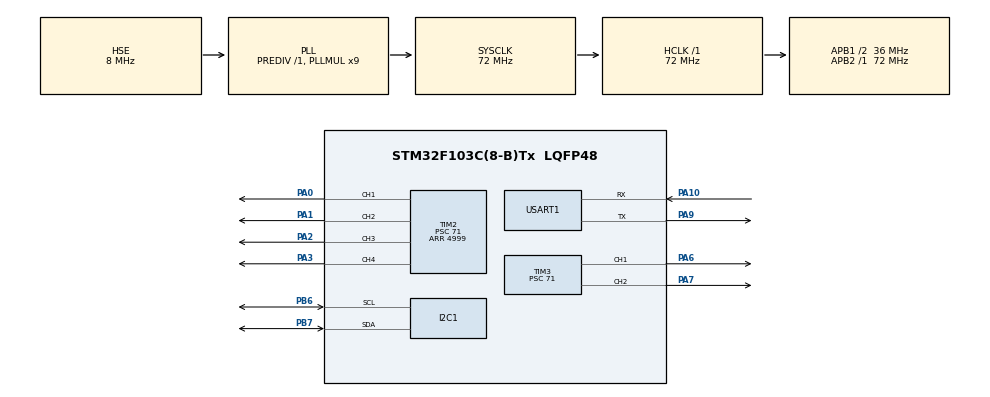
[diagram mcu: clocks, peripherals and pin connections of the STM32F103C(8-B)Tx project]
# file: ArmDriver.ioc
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Dma.I2C1_RX.0.Direction=DMA_PERIPH_TO_MEMORY
Dma.I2C1_RX.0.Instance=DMA1_Channel7
Dma.I2C1_RX.0.MemDataAlignment=DMA_MDATAALIGN_BYTE
Dma.I2C1_RX.0.MemInc=DMA_MINC_ENABLE
Dma.I2C1_RX.0.Mode=DMA_NORMAL
Dma.I2C1_RX.0.PeriphDataAlignment=DMA_PDATAALIGN_BYTE
Dma.I2C1_RX.0.PeriphInc=DMA_PINC_DISABLE
Dma.I2C1_RX.0.Priority=DMA_PRIORITY_LOW
Dma.I2C1_TX.1.Direction=DMA_MEMORY_TO_PERIPH
Dma.I2C1_TX.1.Instance=DMA1_Channel6
Dma.I2C1_TX.1.MemDataAlignment=DMA_MDATAALIGN_BYTE
Dma.I2C1_TX.1.MemInc=DMA_MINC_ENABLE
Dma.I2C1_TX.1.Mode=DMA_NORMAL
Dma.I2C1_TX.1.PeriphDataAlignment=DMA_PDATAALIGN_BYTE
Dma.I2C1_TX.1.PeriphInc=DMA_PINC_DISABLE
Dma.I2C1_TX.1.Priority=DMA_PRIORITY_LOW
Dma.MEMTOMEM.4.Direction=DMA_MEMORY_TO_MEMORY
Dma.MEMTOMEM.4.Instance=DMA1_Channel1
Dma.MEMTOMEM.4.MemDataAlignment=DMA_MDATAALIGN_BYTE
Dma.MEMTOMEM.4.MemInc=DMA_MINC_ENABLE
Dma.MEMTOMEM.4.Mode=DMA_NORMAL
Dma.MEMTOMEM.4.PeriphDataAlignment=DMA_PDATAALIGN_BYTE
Dma.MEMTOMEM.4.PeriphInc=DMA_PINC_ENABLE
Dma.MEMTOMEM.4.Priority=DMA_PRIORITY_LOW
Dma.Request0=I2C1_RX
Dma.Request1=I2C1_TX
Dma.Request2=USART1_RX
Dma.Request3=USART1_TX
Dma.Request4=MEMTOMEM
Dma.USART1_RX.2.Direction=DMA_PERIPH_TO_MEMORY
Dma.USART1_RX.2.Instance=DMA1_Channel5
Dma.USART1_RX.2.MemDataAlignment=DMA_MDATAALIGN_BYTE
Dma.USART1_RX.2.MemInc=DMA_MINC_ENABLE
Dma.USART1_RX.2.Mode=DMA_NORMAL
Dma.USART1_RX.2.PeriphDataAlignment=DMA_PDATAALIGN_BYTE
Dma.USART1_RX.2.PeriphInc=DMA_PINC_DISABLE
Dma.USART1_RX.2.Priority=DMA_PRIORITY_LOW
Dma.USART1_TX.3.Direction=DMA_MEMORY_TO_PERIPH
Dma.USART1_TX.3.Instance=DMA1_Channel4
Dma.USART1_TX.3.MemDataAlignment=DMA_MDATAALIGN_BYTE
Dma.USART1_TX.3.MemInc=DMA_MINC_ENABLE
Dma.USART1_TX.3.Mode=DMA_NORMAL
Dma.USART1_TX.3.PeriphDataAlignment=DMA_PDATAALIGN_BYTE
Dma.USART1_TX.3.PeriphInc=DMA_PINC_DISABLE
Dma.USART1_TX.3.Priority=DMA_PRIORITY_LOW
I2C1.OwnAddress=0x40
Mcu.Family=STM32F1
Mcu.Name=STM32F103C(8-B)Tx
Mcu.Package=LQFP48
NVIC.DMA1_Channel4_IRQn=true\:0\:0\:false\:false\:true\:false\:true\:true
NVIC.DMA1_Channel5_IRQn=true\:0\:0\:false\:false\:true\:false\:true\:true
NVIC.DMA1_Channel6_IRQn=true\:0\:0\:false\:false\:true\:false\:true\:true
NVIC.DMA1_Channel7_IRQn=true\:0\:0\:false\:false\:true\:false\:true\:true
NVIC.I2C1_ER_IRQn=true\:0\:0\:false\:false\:true\:true\:true\:true
NVIC.I2C1_EV_IRQn=true\:0\:0\:false\:false\:true\:true\:true\:true
NVIC.PriorityGroup=NVIC_PRIORITYGROUP_4
NVIC.TIM2_IRQn=true\:0\:0\:false\:false\:true\:true\:true\:true
NVIC.USART1_IRQn=true\:0\:0\:false\:false\:true\:true\:true\:true
PA0-WKUP.Signal=S_TIM2_CH1_ETR
PA1.Signal=S_TIM2_CH2
PA10.Mode=Asynchronous
PA10.Signal=USART1_RX
PA2.Signal=S_TIM2_CH3
PA3.Signal=S_TIM2_CH4
PA6.Signal=S_TIM3_CH1
PA7.Signal=S_TIM3_CH2
PA9.Mode=Asynchronous
PA9.Signal=USART1_TX
PB6.Mode=I2C
PB6.Signal=I2C1_SCL
PB7.Mode=I2C
PB7.Signal=I2C1_SDA
PD0-OSC_IN.Mode=HSE-External-Oscillator
PD0-OSC_IN.Signal=RCC_OSC_IN
PD1-OSC_OUT.Mode=HSE-External-Oscillator
PD1-OSC_OUT.Signal=RCC_OSC_OUT
ProjectManager.HeapSize=0x200
ProjectManager.StackSize=0x400
ProjectManager.TargetToolchain=STM32CubeIDE
RCC.AHBFreq_Value=72000000
RCC.APB1CLKDivider=RCC_HCLK_DIV2
RCC.APB1Freq_Value=36000000
RCC.APB1TimFreq_Value=72000000
RCC.APB2Freq_Value=72000000
RCC.APB2TimFreq_Value=72000000
RCC.HCLKFreq_Value=72000000
RCC.PLLMUL=RCC_PLL_MUL9
RCC.PLLSourceVirtual=RCC_PLLSOURCE_HSE
RCC.SYSCLKFreq_VALUE=72000000
RCC.SYSCLKSource=RCC_SYSCLKSOURCE_PLLCLK
RCC.USBFreq_Value=72000000
SH.S_TIM2_CH1_ETR.0=TIM2_CH1,PWM Generation1 CH1
SH.S_TIM2_CH2.0=TIM2_CH2,PWM Generation2 CH2
SH.S_TIM2_CH3.0=TIM2_CH3,PWM Generation3 CH3
SH.S_TIM2_CH4.0=TIM2_CH4,PWM Generation4 CH4
SH.S_TIM3_CH1.0=TIM3_CH1,PWM Generation1 CH1
SH.S_TIM3_CH2.0=TIM3_CH2,PWM Generation2 CH2
TIM2.Channel-PWM\ Generation1\ CH1=TIM_CHANNEL_1
TIM2.Channel-PWM\ Generation2\ CH2=TIM_CHANNEL_2
TIM2.Channel-PWM\ Generation3\ CH3=TIM_CHANNEL_3
TIM2.Channel-PWM\ Generation4\ CH4=TIM_CHANNEL_4
TIM2.Period=4999
TIM2.Prescaler=71
TIM3.Channel-PWM\ Generation1\ CH1=TIM_CHANNEL_1
TIM3.Channel-PWM\ Generation2\ CH2=TIM_CHANNEL_2
TIM3.Period=4999
TIM3.Prescaler=71
USART1.VirtualMode=VM_ASYNC
VP_SYS_VS_ND.Mode=No_Debug
VP_TIM2_VS_ClockSourceINT.Mode=Internal
VP_TIM3_VS_ClockSourceINT.Mode=Internal
board=custom

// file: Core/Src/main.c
/* USER CODE BEGIN Header */
/**
  ******************************************************************************
  * @file           : main.c
  * @brief          : Main program body
  ******************************************************************************
  * @attention
  *
  * Copyright (c) 2025 STMicroelectronics.
  * All rights reserved.
  *
  * This software is licensed under terms that can be found in the LICENSE file
  * in the root directory of this software component.
  * If no LICENSE file comes with this software, it is provided AS-IS.
  *
  ******************************************************************************
  */
/* USER CODE END Header */
#include "main.h"

I2C_HandleTypeDef hi2c1;
DMA_HandleTypeDef hdma_i2c1_rx;
DMA_HandleTypeDef hdma_i2c1_tx;

TIM_HandleTypeDef htim2;
TIM_HandleTypeDef htim3;

UART_HandleTypeDef huart1;
DMA_HandleTypeDef hdma_usart1_rx;
DMA_HandleTypeDef hdma_usart1_tx;

DMA_HandleTypeDef hdma_memtomem_dma1_channel1;
/* USER CODE BEGIN PV */
uint16_t pulse[6];
uint8_t Rx_buffer[14];
uint8_t Tx_buffer[14];
uint8_t I2C_Tx_buffer[18*2];
uint8_t I2C_Rx_buffer[18*2];

/* USER CODE END PV */

void SystemClock_Config(void);
static void MX_GPIO_Init(void);
static void MX_DMA_Init(void);
static void MX_I2C1_Init(void);
static void MX_TIM2_Init(void);
static void MX_TIM3_Init(void);
static void MX_USART1_UART_Init(void);

/* USER CODE BEGIN 0 */
void HAL_UART_RxCpltCallback(UART_HandleTypeDef *huart) {
  if (huart->Instance == USART1) {
    if (Rx_buffer[0] == 0xAA && Rx_buffer[13] == 0x55) {
      pulse[0] = (Rx_buffer[1] << 8) | Rx_buffer[2];
      pulse[1] = (Rx_buffer[3] << 8) | Rx_buffer[4];
      pulse[2] = (Rx_buffer[5] << 8) | Rx_buffer[6];
      pulse[3] = (Rx_buffer[7] << 8) | Rx_buffer[8];
      pulse[4] = (Rx_buffer[9] << 8) | Rx_buffer[10];
      pulse[5] = (Rx_buffer[11] << 8) | Rx_buffer[12];
    }
    HAL_UART_Receive_DMA(&huart1, Rx_buffer, 14);
  }
}

void HAL_I2C_AddrCallback(I2C_HandleTypeDef *hi2c, uint8_t TransferDirection, uint16_t AddrMatchCode) {
  if (hi2c->Instance == I2C1) {
    if (TransferDirection == I2C_DIRECTION_TRANSMIT) {
      HAL_I2C_Slave_Transmit_DMA(&hi2c1, I2C_Tx_buffer, 12 * 4);
    }
    HAL_I2C_EnableListen_IT(&hi2c1);
  }
}

void HAL_TIM_PeriodElapsedCallback(TIM_HandleTypeDef *htim)
{
  if (htim->Instance == TIM2)
  {
    __HAL_TIM_SET_COMPARE(&htim2, TIM_CHANNEL_1, pulse[0]);
    __HAL_TIM_SET_COMPARE(&htim2, TIM_CHANNEL_2, pulse[1]);
    __HAL_TIM_SET_COMPARE(&htim2, TIM_CHANNEL_3, pulse[2]);
    __HAL_TIM_SET_COMPARE(&htim2, TIM_CHANNEL_4, pulse[3]);
    __HAL_TIM_SET_COMPARE(&htim3, TIM_CHANNEL_1, pulse[4]);
    __HAL_TIM_SET_COMPARE(&htim3, TIM_CHANNEL_2, pulse[5]);
  }
}

/* USER CODE END 0 */

int main(void)
{

  /* MCU Configuration--------------------------------------------------------*/

  /* Reset of all peripherals, Initializes the Flash interface and the Systick. */
  HAL_Init();

  /* Configure the system clock */
  SystemClock_Config();

  /* Initialize all configured peripherals */
  MX_GPIO_Init();
  MX_DMA_Init();
  MX_I2C1_Init();
  MX_TIM2_Init();
  MX_TIM3_Init();
  MX_USART1_UART_Init();
  /* USER CODE BEGIN 2 */
  HAL_UART_Receive_DMA(&huart1, Rx_buffer, 14);
  HAL_TIM_PWM_Start(&htim2, TIM_CHANNEL_1);
  HAL_TIM_PWM_Start(&htim2, TIM_CHANNEL_2);
  HAL_TIM_PWM_Start(&htim2, TIM_CHANNEL_3);
  HAL_TIM_PWM_Start(&htim2, TIM_CHANNEL_4);
  HAL_TIM_PWM_Start(&htim3, TIM_CHANNEL_1);
  HAL_TIM_PWM_Start(&htim3, TIM_CHANNEL_2);
  HAL_TIM_Base_Start_IT(&htim2);
  HAL_I2C_EnableListen_IT(&hi2c1);
  HAL_Delay(2000);
  pulse[0]=1500;
  pulse[1]=1500;
  pulse[2]=1500;
  pulse[3]=1500;
  pulse[4]=1500;
  pulse[5]=1500;
  /* USER CODE END 2 */

  /* Infinite loop */
  while (1)
  {

  }
}

void SystemClock_Config(void)
{
  RCC_OscInitTypeDef RCC_OscInitStruct = {0};
  RCC_ClkInitTypeDef RCC_ClkInitStruct = {0};

  /** Initializes the RCC Oscillators according to the specified parameters
  * in the RCC_OscInitTypeDef structure.
  */
  RCC_OscInitStruct.OscillatorType = RCC_OSCILLATORTYPE_HSE;
  RCC_OscInitStruct.HSEState = RCC_HSE_ON;
  RCC_OscInitStruct.HSEPredivValue = RCC_HSE_PREDIV_DIV1;
  RCC_OscInitStruct.HSIState = RCC_HSI_ON;
  RCC_OscInitStruct.PLL.PLLState = RCC_PLL_ON;
  RCC_OscInitStruct.PLL.PLLSource = RCC_PLLSOURCE_HSE;
  RCC_OscInitStruct.PLL.PLLMUL = RCC_PLL_MUL9;
  if (HAL_RCC_OscConfig(&RCC_OscInitStruct) != HAL_OK)
  {
    Error_Handler();
  }

  /** Initializes the CPU, AHB and APB buses clocks
  */
  RCC_ClkInitStruct.ClockType = RCC_CLOCKTYPE_HCLK|RCC_CLOCKTYPE_SYSCLK
                              |RCC_CLOCKTYPE_PCLK1|RCC_CLOCKTYPE_PCLK2;
  RCC_ClkInitStruct.SYSCLKSource = RCC_SYSCLKSOURCE_PLLCLK;
  RCC_ClkInitStruct.AHBCLKDivider = RCC_SYSCLK_DIV1;
  RCC_ClkInitStruct.APB1CLKDivider = RCC_HCLK_DIV2;
  RCC_ClkInitStruct.APB2CLKDivider = RCC_HCLK_DIV1;

  if (HAL_RCC_ClockConfig(&RCC_ClkInitStruct, FLASH_LATENCY_2) != HAL_OK)
  {
    Error_Handler();
  }
}

static void MX_I2C1_Init(void)
{

  hi2c1.Instance = I2C1;
  hi2c1.Init.ClockSpeed = 100000;
  hi2c1.Init.DutyCycle = I2C_DUTYCYCLE_2;
  hi2c1.Init.OwnAddress1 = 128;
  hi2c1.Init.AddressingMode = I2C_ADDRESSINGMODE_7BIT;
  hi2c1.Init.DualAddressMode = I2C_DUALADDRESS_DISABLE;
  hi2c1.Init.OwnAddress2 = 0;
  hi2c1.Init.GeneralCallMode = I2C_GENERALCALL_DISABLE;
  hi2c1.Init.NoStretchMode = I2C_NOSTRETCH_DISABLE;
  if (HAL_I2C_Init(&hi2c1) != HAL_OK)
  {
    Error_Handler();
  }

}

static void MX_TIM2_Init(void)
{

  TIM_ClockConfigTypeDef sClockSourceConfig = {0};
  TIM_MasterConfigTypeDef sMasterConfig = {0};
  TIM_OC_InitTypeDef sConfigOC = {0};

  htim2.Instance = TIM2;
  htim2.Init.Prescaler = 71;
  htim2.Init.CounterMode = TIM_COUNTERMODE_UP;
  htim2.Init.Period = 4999;
  htim2.Init.ClockDivision = TIM_CLOCKDIVISION_DIV1;
  htim2.Init.AutoReloadPreload = TIM_AUTORELOAD_PRELOAD_DISABLE;
  if (HAL_TIM_Base_Init(&htim2) != HAL_OK)
  {
    Error_Handler();
  }
  sClockSourceConfig.ClockSource = TIM_CLOCKSOURCE_INTERNAL;
  if (HAL_TIM_ConfigClockSource(&htim2, &sClockSourceConfig) != HAL_OK)
  {
    Error_Handler();
  }
  if (HAL_TIM_PWM_Init(&htim2) != HAL_OK)
  {
    Error_Handler();
  }
  sMasterConfig.MasterOutputTrigger = TIM_TRGO_RESET;
  sMasterConfig.MasterSlaveMode = TIM_MASTERSLAVEMODE_DISABLE;
  if (HAL_TIMEx_MasterConfigSynchronization(&htim2, &sMasterConfig) != HAL_OK)
  {
    Error_Handler();
  }
  sConfigOC.OCMode = TIM_OCMODE_PWM1;
  sConfigOC.Pulse = 0;
  sConfigOC.OCPolarity = TIM_OCPOLARITY_HIGH;
  sConfigOC.OCFastMode = TIM_OCFAST_DISABLE;
  if (HAL_TIM_PWM_ConfigChannel(&htim2, &sConfigOC, TIM_CHANNEL_1) != HAL_OK)
  {
    Error_Handler();
  }
  if (HAL_TIM_PWM_ConfigChannel(&htim2, &sConfigOC, TIM_CHANNEL_2) != HAL_OK)
  {
    Error_Handler();
  }
  if (HAL_TIM_PWM_ConfigChannel(&htim2, &sConfigOC, TIM_CHANNEL_3) != HAL_OK)
  {
    Error_Handler();
  }
  if (HAL_TIM_PWM_ConfigChannel(&htim2, &sConfigOC, TIM_CHANNEL_4) != HAL_OK)
  {
    Error_Handler();
  }
  HAL_TIM_MspPostInit(&htim2);

}

static void MX_TIM3_Init(void)
{

  TIM_ClockConfigTypeDef sClockSourceConfig = {0};
  TIM_MasterConfigTypeDef sMasterConfig = {0};
  TIM_OC_InitTypeDef sConfigOC = {0};

  htim3.Instance = TIM3;
  htim3.Init.Prescaler = 71;
  htim3.Init.CounterMode = TIM_COUNTERMODE_UP;
  htim3.Init.Period = 4999;
  htim3.Init.ClockDivision = TIM_CLOCKDIVISION_DIV1;
  htim3.Init.AutoReloadPreload = TIM_AUTORELOAD_PRELOAD_DISABLE;
  if (HAL_TIM_Base_Init(&htim3) != HAL_OK)
  {
    Error_Handler();
  }
  sClockSourceConfig.ClockSource = TIM_CLOCKSOURCE_INTERNAL;
  if (HAL_TIM_ConfigClockSource(&htim3, &sClockSourceConfig) != HAL_OK)
  {
    Error_Handler();
  }
  if (HAL_TIM_PWM_Init(&htim3) != HAL_OK)
  {
    Error_Handler();
  }
  sMasterConfig.MasterOutputTrigger = TIM_TRGO_RESET;
  sMasterConfig.MasterSlaveMode = TIM_MASTERSLAVEMODE_DISABLE;
  if (HAL_TIMEx_MasterConfigSynchronization(&htim3, &sMasterConfig) != HAL_OK)
  {
    Error_Handler();
  }
  sConfigOC.OCMode = TIM_OCMODE_PWM1;
  sConfigOC.Pulse = 0;
  sConfigOC.OCPolarity = TIM_OCPOLARITY_HIGH;
  sConfigOC.OCFastMode = TIM_OCFAST_DISABLE;
  if (HAL_TIM_PWM_ConfigChannel(&htim3, &sConfigOC, TIM_CHANNEL_1) != HAL_OK)
  {
    Error_Handler();
  }
  if (HAL_TIM_PWM_ConfigChannel(&htim3, &sConfigOC, TIM_CHANNEL_2) != HAL_OK)
  {
    Error_Handler();
  }
  HAL_TIM_MspPostInit(&htim3);

}

static void MX_USART1_UART_Init(void)
{

  huart1.Instance = USART1;
  huart1.Init.BaudRate = 115200;
  huart1.Init.WordLength = UART_WORDLENGTH_8B;
  huart1.Init.StopBits = UART_STOPBITS_1;
  huart1.Init.Parity = UART_PARITY_NONE;
  huart1.Init.Mode = UART_MODE_TX_RX;
  huart1.Init.HwFlowCtl = UART_HWCONTROL_NONE;
  huart1.Init.OverSampling = UART_OVERSAMPLING_16;
  if (HAL_UART_Init(&huart1) != HAL_OK)
  {
    Error_Handler();
  }

}

static void MX_DMA_Init(void)
{

  /* DMA controller clock enable */
  __HAL_RCC_DMA1_CLK_ENABLE();

  /* Configure DMA request hdma_memtomem_dma1_channel1 on DMA1_Channel1 */
  hdma_memtomem_dma1_channel1.Instance = DMA1_Channel1;
  hdma_memtomem_dma1_channel1.Init.Direction = DMA_MEMORY_TO_MEMORY;
  hdma_memtomem_dma1_channel1.Init.PeriphInc = DMA_PINC_ENABLE;
  hdma_memtomem_dma1_channel1.Init.MemInc = DMA_MINC_ENABLE;
  hdma_memtomem_dma1_channel1.Init.PeriphDataAlignment = DMA_PDATAALIGN_BYTE;
  hdma_memtomem_dma1_channel1.Init.MemDataAlignment = DMA_MDATAALIGN_BYTE;
  hdma_memtomem_dma1_channel1.Init.Mode = DMA_NORMAL;
  hdma_memtomem_dma1_channel1.Init.Priority = DMA_PRIORITY_LOW;
  if (HAL_DMA_Init(&hdma_memtomem_dma1_channel1) != HAL_OK)
  {
    Error_Handler( );
  }

  /* DMA interrupt init */
  /* DMA1_Channel4_IRQn interrupt configuration */
  HAL_NVIC_SetPriority(DMA1_Channel4_IRQn, 0, 0);
  HAL_NVIC_EnableIRQ(DMA1_Channel4_IRQn);
  /* DMA1_Channel5_IRQn interrupt configuration */
  HAL_NVIC_SetPriority(DMA1_Channel5_IRQn, 0, 0);
  HAL_NVIC_EnableIRQ(DMA1_Channel5_IRQn);
  /* DMA1_Channel6_IRQn interrupt configuration */
  HAL_NVIC_SetPriority(DMA1_Channel6_IRQn, 0, 0);
  HAL_NVIC_EnableIRQ(DMA1_Channel6_IRQn);
  /* DMA1_Channel7_IRQn interrupt configuration */
  HAL_NVIC_SetPriority(DMA1_Channel7_IRQn, 0, 0);
  HAL_NVIC_EnableIRQ(DMA1_Channel7_IRQn);

}

static void MX_GPIO_Init(void)
{

  /* GPIO Ports Clock Enable */
  __HAL_RCC_GPIOD_CLK_ENABLE();
  __HAL_RCC_GPIOA_CLK_ENABLE();
  __HAL_RCC_GPIOB_CLK_ENABLE();

}

void Error_Handler(void)
{
  __disable_irq();
  while (1)
  {
  }
}
